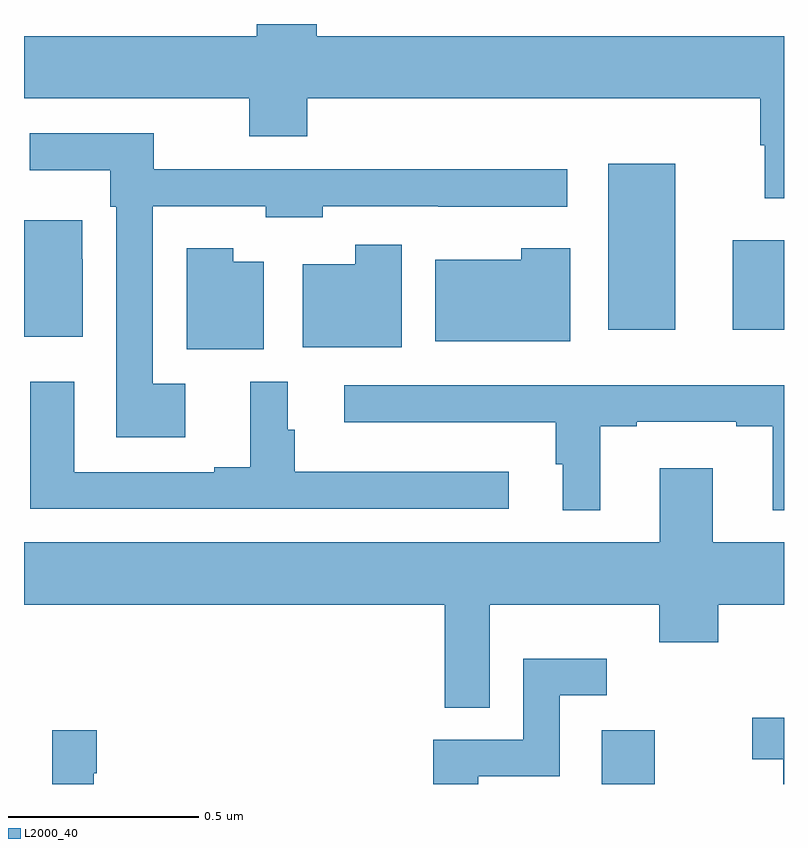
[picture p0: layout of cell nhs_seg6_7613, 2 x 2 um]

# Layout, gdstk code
import gdstk
lib = gdstk.Library(unit=1e-6, precision=1e-09)
def R(c, l, rs):  # rectangles x0, y0, x1, y1
    for r in rs: c.add(gdstk.rectangle(r[:2], r[2:], *l))
def P(c, l, *ps):  # polygons
    for p in ps: c.add(gdstk.Polygon(p, *l))
L2000_40 = (2000, 40)

nhs_seg6_7613 = lib.new_cell('nhs_seg6_7613')
R(nhs_seg6_7613, L2000_40, [(211.52,977.5,211.66,977.641), (211.538,978.695,211.714,979.132), (211.865,978.695,212,978.931)])
P(nhs_seg6_7613, L2000_40, [(212,979.468),(210.77,979.468),(210.77,979.5),(210.613,979.5),(210.613,979.468),(210,979.468),(210,979.304),(210.593,979.304),(210.593,979.205),(210.746,979.205),(210.746,979.304),(211.937,979.304),(211.937,979.181),(211.949,979.181),(211.949,979.041),(212,979.041)],
  [(210.424,978.553),(210.339,978.553),(210.339,979.02),(210.636,979.02),(210.636,978.992),(210.786,978.992),(210.786,979.02),(211.09,979.02),(211.09,979.019),(211.429,979.019),(211.429,979.118),(210.342,979.118),(210.342,979.212),(210.015,979.212),(210.015,979.115),(210.227,979.115),(210.227,979.019),(210.243,979.019),(210.243,978.413),(210.424,978.413)],
  [(210.154,978.881),(210.153,978.881),(210.153,978.984),(210,978.984),(210,978.677),(210.154,978.677)],
  [(210.994,978.919),(210.872,978.919),(210.872,978.868),(210.734,978.868),(210.734,978.65),(210.994,978.65)],
  [(210.631,978.874),(210.55,978.874),(210.55,978.91),(210.428,978.91),(210.428,978.644),(210.631,978.644)],
  [(211.438,978.91),(211.309,978.91),(211.309,978.88),(211.082,978.88),(211.082,978.665),(211.438,978.665)],
  [(211.276,978.322),(210.713,978.322),(210.713,978.432),(210.694,978.432),(210.694,978.559),(210.596,978.559),(210.596,978.334),(210.5,978.334),(210.5,978.321),(210.132,978.321),(210.132,978.559),(210.016,978.559),(210.016,978.225),(211.276,978.225)],
  [(211.516,978.441),(211.612,978.441),(211.612,978.453),(211.874,978.453),(211.874,978.441),(211.97,978.441),(211.97,978.221),(212,978.221),(212,978.55),(211.542,978.55),(211.542,978.549),(210.843,978.549),(210.843,978.452),(211.399,978.452),(211.399,978.342),(211.418,978.342),(211.418,978.221),(211.516,978.221)],
  [(211.225,977.972),(211.672,977.972),(211.672,977.873),(211.827,977.873),(211.827,977.972),(212,977.972),(212,978.136),(211.813,978.136),(211.813,978.331),(211.673,978.331),(211.673,978.136),(210,978.136),(210,977.972),(211.107,977.972),(211.107,977.701),(211.225,977.701)],
  [(211.195,977.52),(211.41,977.52),(211.41,977.733),(211.534,977.733),(211.534,977.83),(211.314,977.83),(211.314,977.616),(211.077,977.616),(211.077,977.5),(211.195,977.5)],
  [(212,977.674),(211.917,977.674),(211.917,977.565),(211.998,977.565),(211.998,977.5),(212,977.5)],
  [(210.184,977.528),(210.191,977.528),(210.191,977.641),(210.074,977.641),(210.074,977.5),(210.184,977.5)])

lib.write_gds('nhs_seg6_7613.gds')
